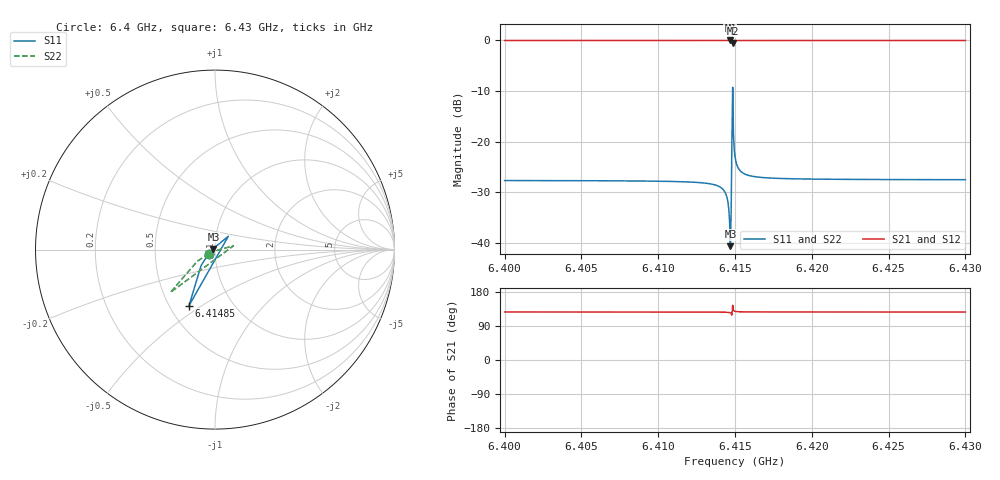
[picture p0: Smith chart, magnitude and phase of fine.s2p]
! Touchstone file exported from HFSS 2021.2.0
!  File:  D:/Jay PhD/Code/Christian Andersen lab metal/andersen-lab-qiskit-metal-7ffcf333120ae557fdd8582a17358975285c58c2/SQL HFSS/Design7_Tunable_Transmon/simulation/aedt/D7.aedt
!  Generated:  8:28:12 %x4E0B%x5348  %x5341%x4E00%x6708 22, 2026
!  Design:  R_7855
!  Project:  D7
!  Setup:  Setup1
!  Solution:  SweepFine
# GHz S MA R 50.000000
! Terminal data exported
! Port[1] = LumpPort_feedline_end
! Port[2] = LumpPort_feedline_start
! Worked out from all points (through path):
!   601 points, 6.4 GHz to 6.43 GHz, reference 50 ohm
!   highest |S21| = 0.00 dB at 6.4147 GHz (marker M1); lowest = -0.5 dB at 6.41485 GHz (marker M2)
!   lowest |S11| = -40.6 dB at 6.4147 GHz (marker M3), VSWR 1.02, Z = 49.1 + j0.344 ohm
!   |S11| at or under -10 dB: start of sweep to 6.414846 GHz; 6.414854 GHz to end of sweep
!   |S22| runs from -40.6 to -9.2 dB; largest |S21 - S12| = 1.7e-12
!   S11 on the Smith chart (normalised r, x): 6.4 GHz: 0.93, -0.05; 6.41485 GHz: 0.63, -0.44; 6.43 GHz: 0.93, -0.05
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6.4  0.04141 -143.3  0.9991 126.8  0.9991 126.8  0.04141 -143.2
! Gamma 0 0 0 0
! Port Impedance 50 0 50 0
6.405  0.04127 -143.4  0.9991 126.7  0.9991 126.7  0.04127 -143.2
6.41  0.04077 -143.6  0.9992 126.6  0.9992 126.6  0.04077 -143.1
6.4139  0.03655 -145.3  0.9993 126.4  0.9993 126.4  0.03655 -141.9
6.41435  0.03171 -147.8  0.9995 126.1  0.9995 126.1  0.03171 -140.1
6.41445  0.02911 -149.4  0.9996 125.9  0.9996 125.9  0.02911 -138.8
6.41455  0.02475 -152.8  0.9997 125.6  0.9997 125.6  0.02475 -135.9
6.4146  0.02125 -156.6  0.9998 125.4  0.9998 125.4  0.02125 -132.5
6.41465  0.0161 -165.5  0.9999 125.1  0.9999 125.1  0.0161 -124.3
6.4147  0.009312 158.0  1 124.5  1 124.5  0.009312 -88.9
6.41485  0.3448 -114.9  0.9387 144.5  0.9387 144.5  0.3448 -136.2
6.4149  0.1176 -131.2  0.9931 131.1  0.9931 131.1  0.1176 -146.7
6.41495  0.08481 -134.7  0.9964 129.2  0.9964 129.2  0.08481 -147.0
6.415  0.0718 -136.5  0.9974 128.4  0.9974 128.4  0.0718 -146.7
6.41505  0.06482 -137.7  0.9979 128.0  0.9979 128.0  0.06482 -146.3
6.41515  0.05751 -139.1  0.9983 127.6  0.9983 127.6  0.05751 -145.8
6.41535  0.05141 -140.5  0.9987 127.2  0.9987 127.2  0.05141 -145.1
6.41565  0.04787 -141.4  0.9989 127.0  0.9989 127.0  0.04787 -144.6
6.4169  0.04421 -142.5  0.999 126.8  0.999 126.8  0.04421 -143.9
6.42  0.04279 -143.0  0.9991 126.7  0.9991 126.7  0.04279 -143.6
6.425  0.04234 -143.2  0.9991 126.6  0.9991 126.6  0.04234 -143.6
6.43  0.04221 -143.3  0.9991 126.6  0.9991 126.6  0.04221 -143.6
